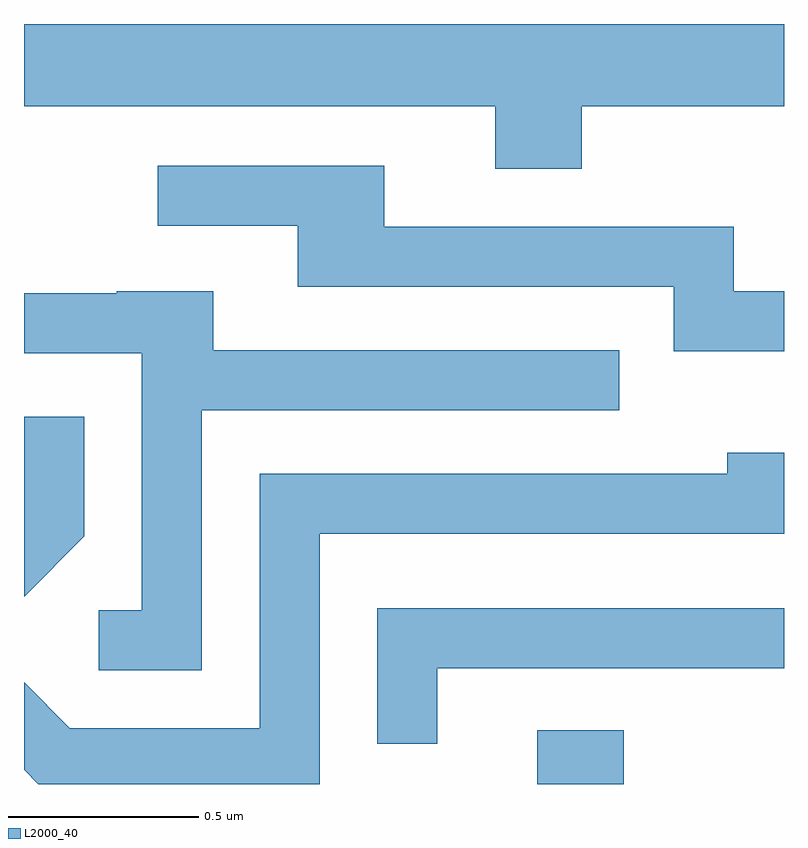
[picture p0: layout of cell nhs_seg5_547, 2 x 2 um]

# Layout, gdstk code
import gdstk
lib = gdstk.Library(unit=1e-6, precision=1e-09)
def R(c, l, rs):  # rectangles x0, y0, x1, y1
    for r in rs: c.add(gdstk.rectangle(r[:2], r[2:], *l))
def P(c, l, *ps):  # polygons
    for p in ps: c.add(gdstk.Polygon(p, *l))
L2000_40 = (2000, 40)

nhs_seg5_547 = lib.new_cell('nhs_seg5_547')
R(nhs_seg5_547, L2000_40, [(190.961,1395.072,191.189,1395.214)])
P(nhs_seg5_547, L2000_40, [(191.079,1396.856),(191.611,1396.856),(191.611,1397.072),(189.611,1397.072),(189.611,1396.856),(190.851,1396.856),(190.851,1396.691),(191.079,1396.691)],
  [(191.611,1396.369),(191.479,1396.369),(191.479,1396.539),(190.559,1396.539),(190.559,1396.699),(189.963,1396.699),(189.963,1396.541),(190.331,1396.541),(190.331,1396.381),(191.321,1396.381),(191.321,1396.211),(191.611,1396.211)],
  [(190.079,1396.056),(191.178,1396.056),(191.178,1396.214),(190.109,1396.214),(190.109,1396.369),(189.855,1396.369),(189.855,1396.364),(189.611,1396.364),(189.611,1396.206),(189.921,1396.206),(189.921,1395.529),(189.808,1395.529),(189.808,1395.371),(190.079,1395.371)],
  [(189.769,1395.724),(189.769,1396.038),(189.611,1396.038),(189.611,1395.565)],
  [(190.389,1395.731),(191.611,1395.731),(191.611,1395.944),(191.461,1395.944),(191.461,1395.889),(190.231,1395.889),(190.231,1395.219),(189.732,1395.219),(189.611,1395.34),(189.611,1395.109),(189.648,1395.072),(190.389,1395.072)],
  [(190.699,1395.376),(191.611,1395.376),(191.611,1395.534),(190.541,1395.534),(190.541,1395.178),(190.699,1395.178)])

lib.write_gds('nhs_seg5_547.gds')
